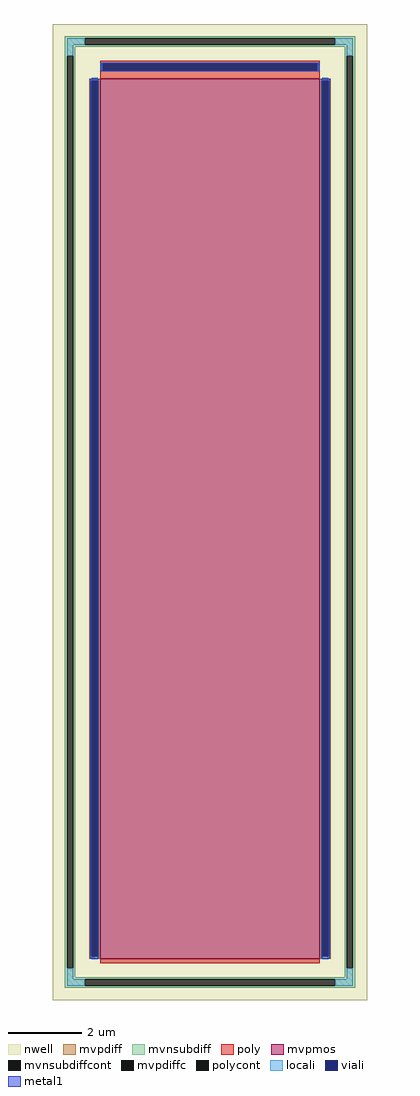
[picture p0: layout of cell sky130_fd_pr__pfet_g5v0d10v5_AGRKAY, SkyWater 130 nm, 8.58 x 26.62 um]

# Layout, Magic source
magic
tech sky130B
magscale 1 2
<< nwell >>
rect -858 -2662 858 2662
<< mvpmos >>
rect -600 -2436 600 2364
<< mvpdiff >>
rect -658 2352 -600 2364
rect -658 -2424 -646 2352
rect -612 -2424 -600 2352
rect -658 -2436 -600 -2424
rect 600 2352 658 2364
rect 600 -2424 612 2352
rect 646 -2424 658 2352
rect 600 -2436 658 -2424
<< mvpdiffc >>
rect -646 -2424 -612 2352
rect 612 -2424 646 2352
<< mvnsubdiff >>
rect -792 2584 792 2596
rect -792 2550 -684 2584
rect 684 2550 792 2584
rect -792 2538 792 2550
rect -792 2488 -734 2538
rect -792 -2488 -780 2488
rect -746 -2488 -734 2488
rect 734 2488 792 2538
rect -792 -2538 -734 -2488
rect 734 -2488 746 2488
rect 780 -2488 792 2488
rect 734 -2538 792 -2488
rect -792 -2550 792 -2538
rect -792 -2584 -684 -2550
rect 684 -2584 792 -2550
rect -792 -2596 792 -2584
<< mvnsubdiffcont >>
rect -684 2550 684 2584
rect -780 -2488 -746 2488
rect 746 -2488 780 2488
rect -684 -2584 684 -2550
<< poly >>
rect -600 2445 600 2461
rect -600 2411 -584 2445
rect 584 2411 600 2445
rect -600 2364 600 2411
rect -600 -2462 600 -2436
<< polycont >>
rect -584 2411 584 2445
<< locali >>
rect -780 2550 -684 2584
rect 684 2550 780 2584
rect -780 2488 -746 2550
rect 746 2488 780 2550
rect -600 2411 -584 2445
rect 584 2411 600 2445
rect -646 2352 -612 2368
rect -646 -2440 -612 -2424
rect 612 2352 646 2368
rect 612 -2440 646 -2424
rect -780 -2550 -746 -2488
rect 746 -2550 780 -2488
rect -780 -2584 -684 -2550
rect 684 -2584 780 -2550
<< viali >>
rect -584 2411 584 2445
rect -646 -2424 -612 2352
rect 612 -2424 646 2352
<< metal1 >>
rect -596 2445 596 2451
rect -596 2411 -584 2445
rect 584 2411 596 2445
rect -596 2405 596 2411
rect -652 2352 -606 2364
rect -652 -2424 -646 2352
rect -612 -2424 -606 2352
rect -652 -2436 -606 -2424
rect 606 2352 652 2364
rect 606 -2424 612 2352
rect 646 -2424 652 2352
rect 606 -2436 652 -2424
<< properties >>
string FIXED_BBOX -763 -2567 763 2567
string gencell sky130_fd_pr__pfet_g5v0d10v5
string library sky130
string parameters w 24.0 l 6.0 m 1 nf 1 diffcov 100 polycov 100 guard 1 glc 1 grc 1 gtc 1 gbc 1 tbcov 100 rlcov 100 topc 1 botc 0 poverlap 0 doverlap 1 lmin 0.50 wmin 0.42 compatible {sky130_fd_pr__pfet_01v8  sky130_fd_pr__pfet_01v8_lvt sky130_fd_pr__pfet_01v8_hvt  sky130_fd_pr__pfet_g5v0d10v5} full_metal 1 viasrc 100 viadrn 100 viagate 100 viagb 0 viagr 0 viagl 0 viagt 0
<< end >>
